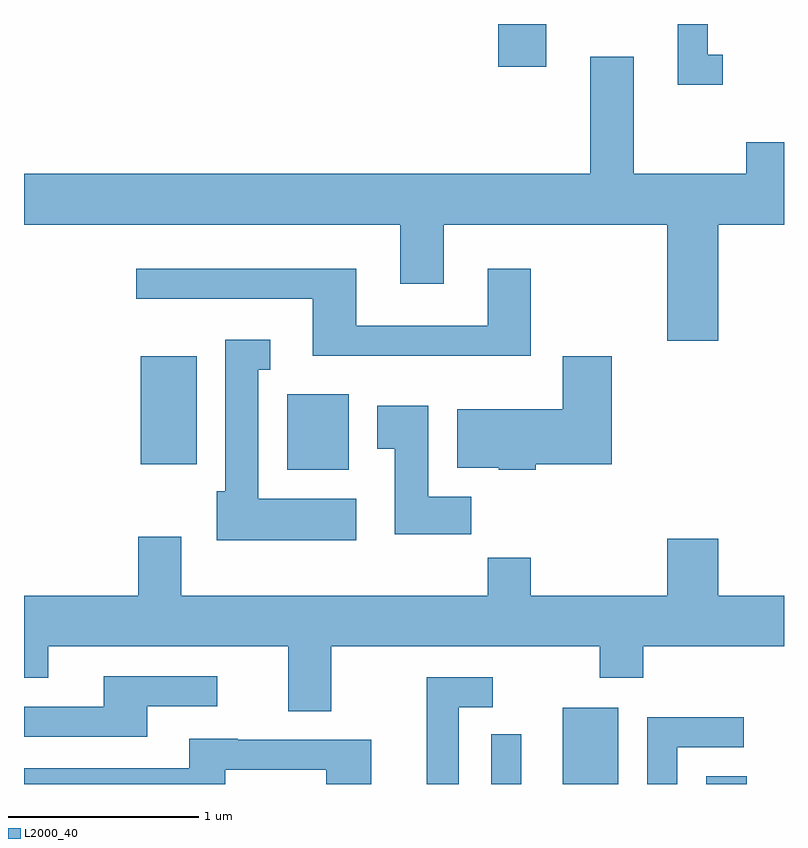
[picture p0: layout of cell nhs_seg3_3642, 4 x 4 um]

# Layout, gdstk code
import gdstk
lib = gdstk.Library(unit=1e-6, precision=1e-09)
def R(c, l, rs):  # rectangles x0, y0, x1, y1
    for r in rs: c.add(gdstk.rectangle(r[:2], r[2:], *l))
def P(c, l, *ps):  # polygons
    for p in ps: c.add(gdstk.Polygon(p, *l))
L2000_40 = (2000, 40)

nhs_seg3_3642 = lib.new_cell('nhs_seg3_3642')
R(nhs_seg3_3642, L2000_40, [(294.071,1191.892,294.229,1192.153), (294.446,1191.892,294.739,1192.294), (295.201,1191.892,295.414,1191.934), (292.996,1193.546,293.319,1193.944), (292.226,1193.576,292.519,1194.144), (294.106,1195.666,294.359,1195.892)])
P(nhs_seg3_3642, L2000_40, [(295.288,1195.729),(295.209,1195.729),(295.209,1195.892),(295.051,1195.892),(295.051,1195.571),(295.288,1195.571)],
  [(295.264,1194.836),(295.611,1194.836),(295.611,1195.269),(295.411,1195.269),(295.411,1195.104),(294.819,1195.104),(294.819,1195.719),(294.591,1195.719),(294.591,1195.104),(291.611,1195.104),(291.611,1194.836),(293.591,1194.836),(293.591,1194.526),(293.819,1194.526),(293.819,1194.836),(294.996,1194.836),(294.996,1194.226),(295.264,1194.226)],
  [(294.279,1194.604),(294.051,1194.604),(294.051,1194.304),(293.359,1194.304),(293.359,1194.604),(292.203,1194.604),(292.203,1194.446),(293.131,1194.446),(293.131,1194.146),(294.279,1194.146)],
  [(293.359,1193.394),(292.844,1193.394),(292.844,1194.071),(292.908,1194.071),(292.908,1194.229),(292.671,1194.229),(292.671,1193.434),(292.626,1193.434),(292.626,1193.176),(293.359,1193.176)],
  [(294.304,1193.576),(294.704,1193.576),(294.704,1194.144),(294.446,1194.144),(294.446,1193.864),(293.891,1193.864),(293.891,1193.556),(294.11,1193.556),(294.11,1193.546),(294.304,1193.546)],
  [(293.964,1193.404),(293.739,1193.404),(293.739,1193.884),(293.471,1193.884),(293.471,1193.656),(293.561,1193.656),(293.561,1193.206),(293.964,1193.206)],
  [(293.229,1192.616),(294.641,1192.616),(294.641,1192.451),(294.869,1192.451),(294.869,1192.616),(295.611,1192.616),(295.611,1192.884),(295.264,1192.884),(295.264,1193.184),(294.996,1193.184),(294.996,1192.884),(294.279,1192.884),(294.279,1193.084),(294.051,1193.084),(294.051,1192.884),(292.439,1192.884),(292.439,1193.194),(292.211,1193.194),(292.211,1192.884),(291.611,1192.884),(291.611,1192.451),(291.739,1192.451),(291.739,1192.616),(293.001,1192.616),(293.001,1192.276),(293.229,1192.276)],
  [(292.259,1192.301),(292.628,1192.301),(292.628,1192.459),(292.031,1192.459),(292.031,1192.299),(291.611,1192.299),(291.611,1192.141),(292.259,1192.141)],
  [(293.899,1192.296),(294.078,1192.296),(294.078,1192.454),(293.731,1192.454),(293.731,1191.892),(293.899,1191.892)],
  [(295.049,1192.086),(295.398,1192.086),(295.398,1192.244),(294.891,1192.244),(294.891,1191.892),(295.049,1191.892)],
  [(292.669,1191.966),(293.201,1191.966),(293.201,1191.892),(293.439,1191.892),(293.439,1192.124),(292.735,1192.124),(292.735,1192.129),(292.481,1192.129),(292.481,1191.974),(291.611,1191.974),(291.611,1191.892),(292.669,1191.892)])

lib.write_gds('nhs_seg3_3642.gds')
